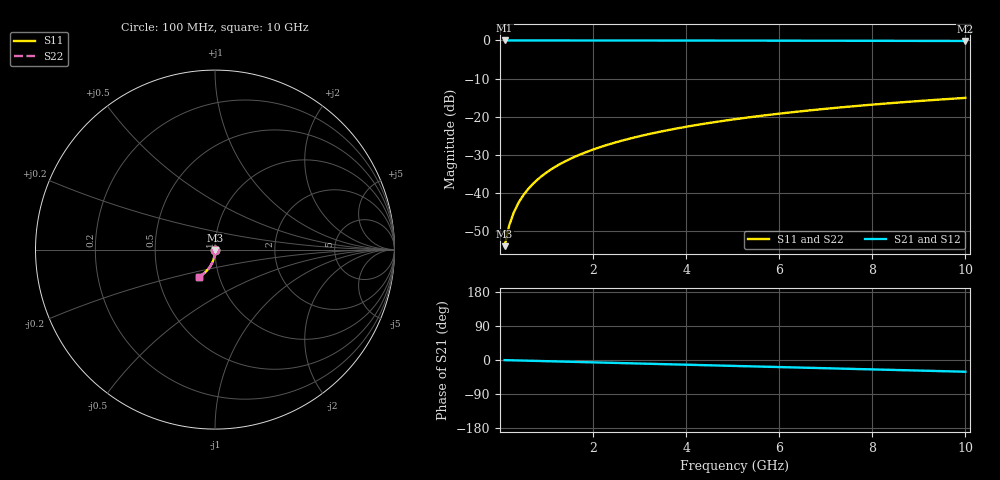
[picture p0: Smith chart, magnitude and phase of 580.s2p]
# Hz S RI R 50.00
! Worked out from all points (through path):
!   100 points, 100 MHz to 10 GHz, reference 50 ohm
!   highest |S21| = -0.01 dB at 100 MHz (marker M1); lowest = -0.1 dB at 10 GHz (marker M2)
!   group delay of S21, straight-line fit = 8.6 ps
!   lowest |S11| = -53.9 dB at 100 MHz (marker M3), VSWR 1.00, Z = 50.1 - j0.186 ohm
!   |S11| at or under -10 dB: start of sweep to end of sweep
!   |S22| runs from -53.9 to -15.1 dB; largest |S21 - S12| = 0
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1e8  0.000762 -0.00186  0.9992 -0.00541  0.9992 -0.00541  0.000762 -0.00186
2e8  0.000733 -0.00372  0.9991 -0.0108  0.9991 -0.0108  0.000733 -0.00372
3e8  0.000683 -0.00558  0.9991 -0.0162  0.9991 -0.0162  0.000683 -0.00558
4e8  0.000612 -0.00744  0.9989 -0.0217  0.9989 -0.0217  0.000612 -0.00744
5e8  0.000521 -0.0093  0.9988 -0.0271  0.9988 -0.0271  0.000521 -0.0093
6e8  0.000409 -0.0112  0.9986 -0.0325  0.9986 -0.0325  0.000409 -0.0112
7e8  0.000277 -0.013  0.9984 -0.0379  0.9984 -0.0379  0.000277 -0.013
8e8  0.000125 -0.0149  0.9981 -0.0433  0.9981 -0.0433  0.000125 -0.0149
9e8  -4.8e-05 -0.0167  0.9978 -0.0487  0.9978 -0.0487  -4.8e-05 -0.0167
1.1e9  -0.000454 -0.0204  0.9972 -0.0595  0.9972 -0.0595  -0.000454 -0.0204
1.4e9  -0.00121 -0.026  0.9959 -0.0757  0.9959 -0.0757  -0.00121 -0.026
1.8e9  -0.00251 -0.0333  0.9938 -0.0973  0.9938 -0.0973  -0.00251 -0.0333
2.1e9  -0.00369 -0.0388  0.9919 -0.1134  0.9919 -0.1134  -0.00369 -0.0388
2.5e9  -0.00553 -0.046  0.9889 -0.1348  0.9889 -0.1348  -0.00553 -0.046
2.9e9  -0.00769 -0.0532  0.9853 -0.1562  0.9853 -0.1562  -0.00769 -0.0532
3.4e9  -0.0108 -0.0619  0.9802 -0.1827  0.9802 -0.1827  -0.0108 -0.0619
4.2e9  -0.0168 -0.0756  0.9703 -0.2248  0.9703 -0.2248  -0.0168 -0.0756
5.1e9  -0.0249 -0.0903  0.9568 -0.2714  0.9568 -0.2714  -0.0249 -0.0903
5.9e9  -0.0333 -0.1026  0.9428 -0.3121  0.9428 -0.3121  -0.0333 -0.1026
6.7e9  -0.0427 -0.1142  0.9269 -0.3519  0.9269 -0.3519  -0.0427 -0.1142
8.4e9  -0.0656 -0.1357  0.8871 -0.4334  0.8871 -0.4334  -0.0656 -0.1357
1e10  -0.0903 -0.1517  0.843 -0.5056  0.843 -0.5056  -0.0903 -0.1517
